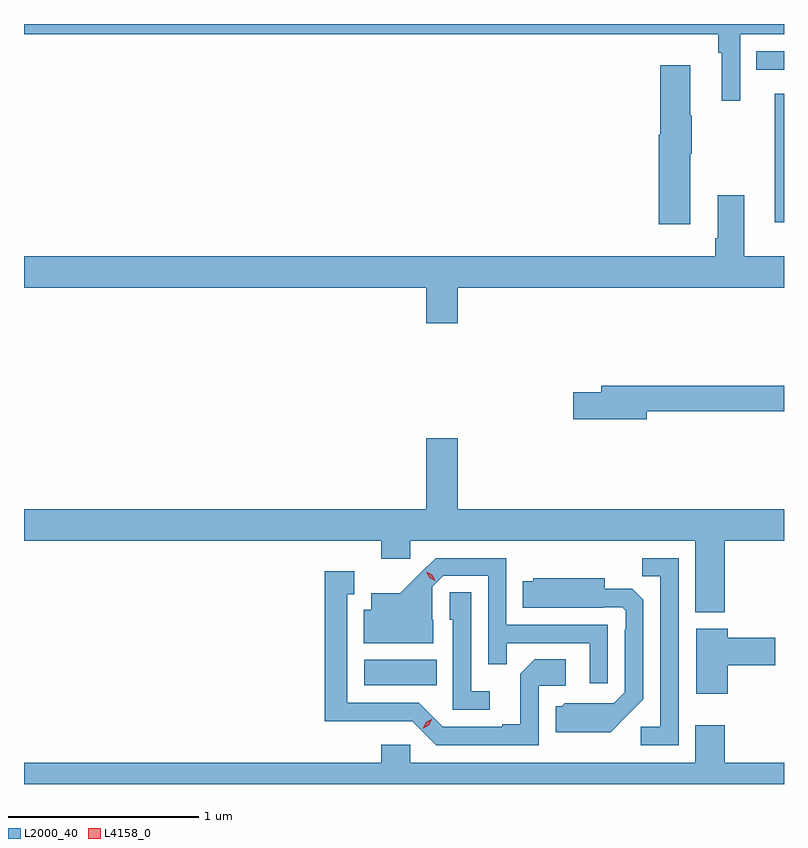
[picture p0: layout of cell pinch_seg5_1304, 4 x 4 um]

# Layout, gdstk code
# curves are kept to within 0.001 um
import gdstk
lib = gdstk.Library(unit=1e-6, precision=1e-09)
def R(c, l, rs):  # rectangles x0, y0, x1, y1
    for r in rs: c.add(gdstk.rectangle(r[:2], r[2:], *l))
def P(c, l, *ps):  # polygons
    for p in ps: c.add(gdstk.Polygon(p, *l))
L2000_40 = (2000, 40)
L4158_0 = (4158, 0)

pinch_seg5_1304 = lib.new_cell('pinch_seg5_1304')
R(pinch_seg5_1304, L2000_40, [(308.538,878.642,308.918,878.776), (310.6,881.883,310.746,881.979)])
P(pinch_seg5_1304, L2000_40, [(310.515,882.068),(310.746,882.068),(310.746,882.123),(306.746,882.123),(306.746,882.068),(310.399,882.068),(310.399,881.972),(310.418,881.972),(310.418,881.718),(310.515,881.718)],
  [(310.252,881.441),(310.26,881.441),(310.26,881.641),(310.252,881.641),(310.252,881.905),(310.094,881.905),(310.094,881.541),(310.088,881.541),(310.088,881.07),(310.252,881.07)],
  [(310.746,881.755),(310.698,881.755),(310.698,881.323),(310.697,881.323),(310.697,881.079),(310.746,881.079)],
  [(309.028,880.736),(310.746,880.736),(310.746,880.9),(310.537,880.9),(310.537,881.221),(310.397,881.221),(310.397,880.996),(310.385,880.996),(310.385,880.9),(306.746,880.9),(306.746,880.736),(308.864,880.736),(308.864,880.548),(309.028,880.548)],
  [(310.024,880.084),(310.746,880.084),(310.746,880.22),(309.785,880.22),(309.785,880.184),(309.636,880.184),(309.636,880.042),(310.024,880.042)],
  [(310.433,879.404),(310.746,879.404),(310.746,879.568),(309.028,879.568),(309.028,879.943),(308.864,879.943),(308.864,879.568),(306.746,879.568),(306.746,879.404),(308.627,879.404),(308.627,879.309),(308.778,879.309),(308.778,879.404),(310.28,879.404),(310.28,879.026),(310.433,879.026)],
  [(310.191,879.312),(310,879.312),(310,879.217),(310.095,879.217),(310.095,878.424),(309.993,878.424),(309.993,878.328),(310.191,878.328)],
  [(309.819,878.961),(309.285,878.961),(309.285,879.312),(308.912,879.312),(308.725,879.127),(308.573,879.127),(308.573,879.04),(308.534,879.04),(308.534,878.864),(308.899,878.864),(308.899,878.988),(308.895,878.988),(308.895,879.162),(308.952,879.219),(309.189,879.219),(309.189,878.752),(309.287,878.752),(309.287,878.865),(309.723,878.865),(309.723,878.652),(309.819,878.652)],
  [(309.456,878.64),(309.598,878.64),(309.598,878.78),(309.433,878.78),(309.357,878.704),(309.357,878.437),(309.263,878.437),(309.263,878.424),(308.949,878.424),(308.823,878.55),(308.446,878.55),(308.446,879.123),(308.485,879.123),(308.485,879.244),(308.328,879.244),(308.328,878.453),(308.79,878.454),(308.916,878.328),(309.456,878.328)],
  [(309.913,878.477),(310.005,878.57),(310.005,879.092),(309.946,879.151),(309.802,879.151),(309.802,879.205),(309.426,879.205),(309.426,879.19),(309.37,879.19),(309.37,879.05),(309.794,879.05),(309.794,879.054),(309.894,879.054),(309.912,879.036),(309.912,878.936),(309.909,878.936),(309.909,878.607),(309.849,878.547),(309.592,878.548),(309.576,878.532),(309.545,878.532),(309.545,878.396),(309.833,878.396)],
  [(309.196,878.611),(309.099,878.611),(309.099,879.131),(308.988,879.131),(308.988,878.988),(309.003,878.988),(309.003,878.514),(309.196,878.514)],
  [(310.45,878.747),(310.699,878.747),(310.699,878.894),(310.45,878.894),(310.45,878.941),(310.283,878.941),(310.283,878.598),(310.45,878.598)],
  [(310.746,878.236),(310.433,878.236),(310.433,878.431),(310.28,878.431),(310.28,878.236),(308.778,878.236),(308.778,878.329),(308.627,878.329),(308.627,878.236),(306.746,878.236),(306.746,878.123),(310.746,878.123)])
P(pinch_seg5_1304, L4158_0, [(308.91,879.194),(308.88,879.209),(308.863,879.239),(308.863,879.239),(308.863,879.239),(308.894,879.224),(308.91,879.194),(308.91,879.194)],
  [(308.844,878.414),(308.844,878.414),(308.862,878.447),(308.894,878.466),(308.894,878.466),(308.894,878.466),(308.876,878.433),(308.844,878.414)])

lib.write_gds('pinch_seg5_1304.gds')
